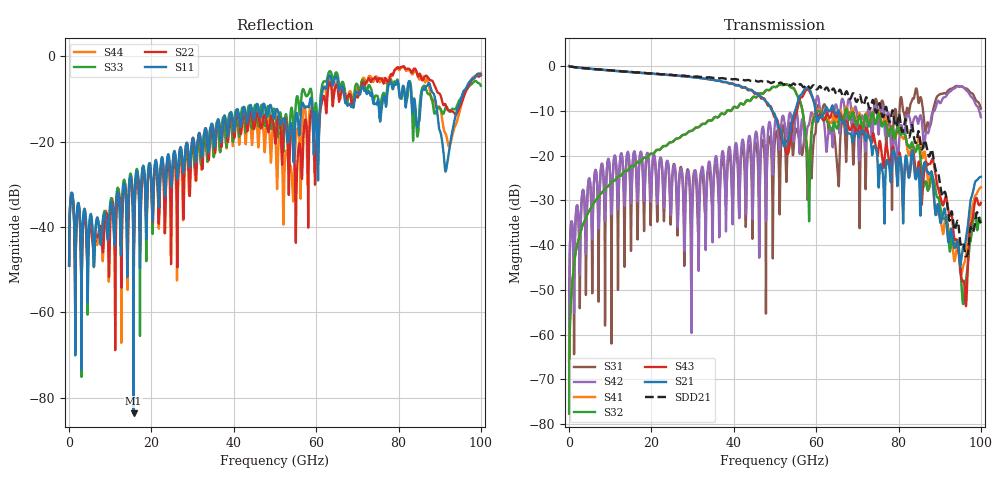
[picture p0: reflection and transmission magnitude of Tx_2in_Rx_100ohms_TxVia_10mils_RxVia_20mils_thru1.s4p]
! Info: Touchstone file created by Circ.  Input file=Tx_2in_Rx_100ohms_TxVia_10mils_RxVia_20mils.circ
# Hz S RI R 50
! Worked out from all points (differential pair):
!   10000 points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, 10 MHz to 100 GHz, reference 50 ohm
!   strongest paths, dB at 10 MHz, 25.01 GHz, 50.01 GHz, 75.01 GHz, 100 GHz:
!     S21: 0.0, -2.0, -10.9, -23.7, -24.7
!     S43: 0.0, -2.0, -11.5, -19.8, -30.6
!     S32: -77.6, -17.0, -4.7, -10.7, -34.7
!     S41: -77.6, -17.0, -4.7, -10.6, -27.1
!     S42: -65.9, -26.4, -12.7, -13.8, -11.4
!     S31: -65.9, -25.6, -16.2, -11.0, -9.5
!   taken as a pair (ports 1,3 in; 2,4 out), SDD21 dB: 0.0, -2.0, -3.6, -9.4, -34.7
!   lowest |S11| = -83.7 dB at 15.67 GHz (marker M1), VSWR 1.00, Z = 50 + j0.00654 ohm
!   |S11| at or under -10 dB: start of sweep to 58.58 GHz; 73.78 GHz to 76.29 GHz (2.51 GHz wide, 3.35 % of centre); 88.91 GHz to 95.17 GHz (6.262 GHz wide, 6.8 % of centre) (the widest 3 of 9)
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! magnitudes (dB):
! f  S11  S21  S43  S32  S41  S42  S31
! 10 MHz  -49.0  0.0  0.0  -77.6  -77.6  -65.9  -65.9
! 3.05 GHz  -57.5  -0.4  -0.4  -36.2  -36.2  -30.0  -30.1
! 15.67 GHz  -83.7  -1.4  -1.4  -22.4  -22.4  -19.5  -19.7
! 52.86 GHz  -18.1  -16.6  -19.6  -4.2  -4.0  -15.7  -23.7
! 88.19 GHz  -8.4  -24.2  -20.8  -24.6  -25.3  -10.5  -11.0
! 95.28 GHz  -9.6  -42.9  -47.4  -48.8  -46.5  -4.6  -4.5
! 100 GHz  -4.2  -24.7  -30.6  -34.7  -27.1  -11.4  -9.5
